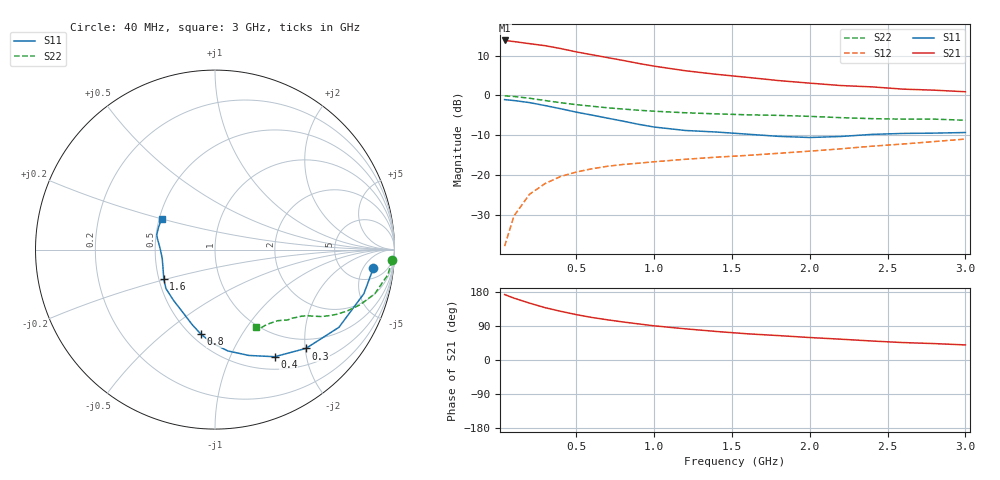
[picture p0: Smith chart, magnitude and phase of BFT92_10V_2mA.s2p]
! Filename:  BFT92F.S2P  Version:  2.0
! Philips part #: BFT92  Date: May 1990
! Bias condition: Vce=-10V, Ic=-2mA
#  MHz  S  MA  R  50
! Freq  S11  S21  S12  S22  !GUM [dB]
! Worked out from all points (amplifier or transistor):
!   21 points, 40 MHz to 3 GHz, reference 50 ohm
!   highest |S21| = 13.8 dB at 40 MHz (marker M1)
!   |S21| within 3 dB of that: start of sweep to 520.5 MHz
!   unconditionally stable (mu >= 1): 1.546 GHz to end of sweep
!   at 300 MHz: K = 0.33, MSG = 17.3 dB, |S12| = -22.0 dB
!   at 1 GHz: K = 0.81, MSG = 12.0 dB, |S12| = -16.6 dB
!   at 3 GHz: K = 1.05, MAG = 4.6 dB, |S12| = -10.9 dB
!   S11 on the Smith chart (normalised r, x): 40 MHz: 8, -8; 300 MHz: 0.81, -2.01; 400 MHz: 0.67, -1.49; 800 MHz: 0.56, -0.68; 1.6 GHz: 0.53, -0.19; 3 GHz: 0.51, +0.20
40  0.888 -6.8  4.886 172.7  0.013 85.3  0.989 -3.5
100  0.865 -16.5  4.731 163.3  0.031 79.3  0.973 -8.3
200  0.815 -32.1  4.453 150.1  0.058 70.9  0.924 -15.4
300  0.748 -47.4  4.204 138.1  0.079 64.4  0.865 -20.8
400  0.683 -60.9  3.868 128.5  0.097 59.5  0.812 -24.9
500  0.619 -72.3  3.518 119.8  0.11 56.1  0.768 -28.0
600  0.569 -82.8  3.24 112.3  0.121 53.4  0.734 -30.1
700  0.521 -91.7  2.984 106.1  0.13 51.7  0.702 -32.1
800  0.478 -99.4  2.75 100.4  0.137 50.8  0.677 -33.3
900  0.436 -107.1  2.521 95.2  0.142 50.1  0.654 -34.5
1000  0.403 -114.3  2.331 90.2  0.148 49.8  0.636 -35.4
1200  0.365 -129.4  2.042 82.3  0.159 49.8  0.608 -37.6
1400  0.349 -141.6  1.841 75.3  0.169 50.5  0.589 -39.9
1600  0.328 -150.5  1.687 69.1  0.178 52.4  0.573 -41.9
1800  0.308 -160.0  1.537 64.4  0.189 54.1  0.564 -44.0
2000  0.298 -170.9  1.428 59.3  0.201 55.8  0.548 -45.9
2200  0.307 178.0  1.332 54.9  0.215 57.3  0.528 -48.6
2400  0.326 169.5  1.282 50.1  0.232 58.4  0.513 -53.0
2600  0.335 165.5  1.201 46.0  0.247 59.6  0.506 -56.7
2800  0.338 158.6  1.166 43.3  0.265 60.9  0.506 -59.8
3000  0.344 149.8  1.114 39.8  0.285 61.6  0.49 -62.2
